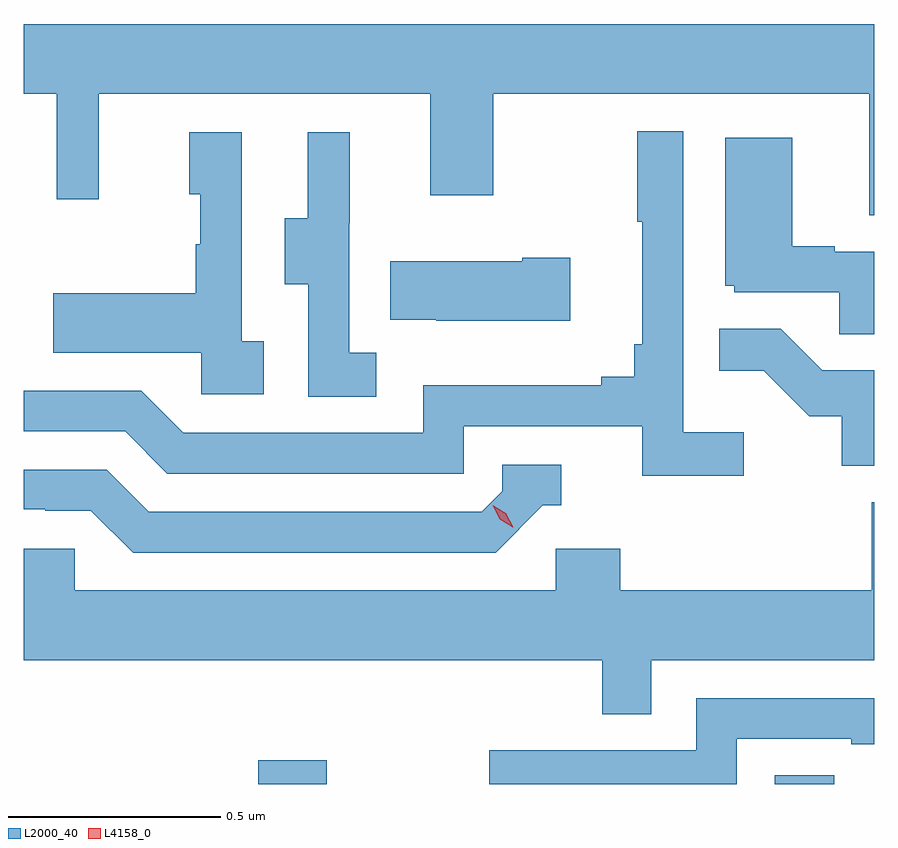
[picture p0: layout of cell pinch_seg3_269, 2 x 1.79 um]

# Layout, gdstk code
import gdstk
lib = gdstk.Library(unit=1e-6, precision=1e-09)
def R(c, l, rs):  # rectangles x0, y0, x1, y1
    for r in rs: c.add(gdstk.rectangle(r[:2], r[2:], *l))
def P(c, l, *ps):  # polygons
    for p in ps: c.add(gdstk.Polygon(p, *l))
L2000_40 = (2000, 40)
L4158_0 = (4158, 0)

pinch_seg3_269 = lib.new_cell('pinch_seg3_269')
R(pinch_seg3_269, L2000_40, [(951.68,727.265,951.841,727.321), (952.895,727.265,953.035,727.286)])
P(pinch_seg3_269, L2000_40, [(953.129,729.052),(951.129,729.052),(951.129,728.888),(951.207,728.888),(951.207,728.64),(951.305,728.64),(951.305,728.888),(952.085,728.888),(952.085,728.649),(952.233,728.649),(952.233,728.888),(953.117,728.888),(953.117,728.602),(953.129,728.602)],
  [(952.822,728.092),(952.68,728.092),(952.68,728.8),(952.572,728.8),(952.572,728.587),(952.583,728.587),(952.583,728.299),(952.564,728.299),(952.564,728.222),(952.487,728.222),(952.487,728.203),(952.068,728.203),(952.068,728.091),(951.504,728.091),(951.405,728.19),(951.129,728.19),(951.129,728.094),(951.368,728.094),(951.467,727.995),(952.164,727.995),(952.164,728.106),(952.583,728.106),(952.583,727.99),(952.822,727.99)],
  [(951.958,728.279),(951.894,728.279),(951.894,728.583),(951.896,728.583),(951.896,728.797),(951.797,728.797),(951.797,728.595),(951.743,728.595),(951.743,728.44),(951.798,728.44),(951.798,728.176),(951.958,728.176)],
  [(951.694,728.306),(951.642,728.306),(951.642,728.797),(951.518,728.797),(951.518,728.652),(951.544,728.652),(951.544,728.534),(951.534,728.534),(951.534,728.419),(951.199,728.419),(951.199,728.279),(951.546,728.279),(951.546,728.181),(951.694,728.181)],
  [(953.129,728.517),(953.036,728.517),(953.036,728.53),(952.936,728.53),(952.936,728.785),(952.778,728.785),(952.778,728.436),(952.8,728.436),(952.8,728.421),(953.047,728.421),(953.047,728.323),(953.129,728.323)],
  [(952.414,728.502),(952.301,728.502),(952.301,728.494),(951.991,728.494),(951.991,728.357),(952.099,728.357),(952.099,728.354),(952.414,728.354)],
  [(953.129,728.238),(953.007,728.238),(952.909,728.336),(952.765,728.336),(952.765,728.237),(952.869,728.237),(952.976,728.13),(953.053,728.13),(953.053,728.013),(953.129,728.013)],
  [(952.35,727.92),(952.393,727.92),(952.393,728.016),(952.254,728.016),(952.254,727.953),(952.206,727.905),(951.423,727.905),(951.324,728.004),(951.129,728.004),(951.129,727.911),(951.18,727.911),(951.18,727.908),(951.287,727.908),(951.386,727.809),(952.239,727.809)],
  [(952.605,727.556),(953.129,727.556),(953.129,727.928),(953.123,727.928),(953.123,727.72),(952.532,727.72),(952.532,727.818),(952.38,727.818),(952.38,727.72),(951.249,727.72),(951.249,727.818),(951.129,727.818),(951.129,727.556),(952.489,727.556),(952.489,727.429),(952.605,727.429)],
  [(952.806,727.371),(953.075,727.371),(953.075,727.359),(953.129,727.359),(953.129,727.467),(952.71,727.467),(952.71,727.344),(952.224,727.344),(952.224,727.265),(952.806,727.265)])
P(pinch_seg3_269, L4158_0, [(952.279,727.869),(952.248,727.888),(952.232,727.921),(952.232,727.921),(952.232,727.921),(952.263,727.902),(952.28,727.869),(952.28,727.869)])

lib.write_gds('pinch_seg3_269.gds')
